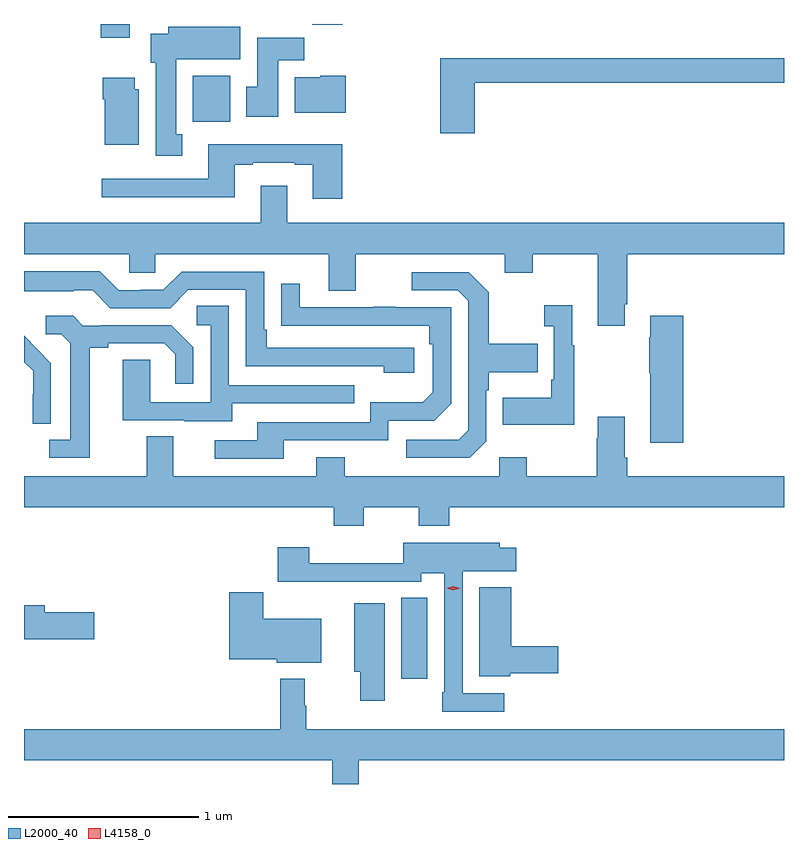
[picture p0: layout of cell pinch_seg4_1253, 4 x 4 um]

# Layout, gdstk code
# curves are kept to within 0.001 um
import gdstk
lib = gdstk.Library(unit=1e-6, precision=1e-09)
def R(c, l, rs):  # rectangles x0, y0, x1, y1
    for r in rs: c.add(gdstk.rectangle(r[:2], r[2:], *l))
def P(c, l, *ps):  # polygons
    for p in ps: c.add(gdstk.Polygon(p, *l))
L2000_40 = (2000, 40)
L4158_0 = (4158, 0)

pinch_seg4_1253 = lib.new_cell('pinch_seg4_1253')
R(pinch_seg4_1253, L2000_40, [(231.728,783.93,231.865,784.355), (230.63,786.86,230.827,787.102), (230.147,787.302,230.299,787.375), (231.259,787.372,231.416,787.375)])
P(pinch_seg4_1253, L2000_40, [(230.575,786.794),(230.542,786.794),(230.542,787.19),(230.881,787.19),(230.881,787.36),(230.501,787.36),(230.501,787.324),(230.408,787.324),(230.408,787.17),(230.435,787.17),(230.435,786.681),(230.575,786.681)],
  [(231.079,787.184),(231.218,787.184),(231.218,787.302),(230.969,787.302),(230.969,787.044),(230.912,787.044),(230.912,786.888),(231.079,786.888)],
  [(232.115,787.066),(233.742,787.066),(233.742,787.195),(231.932,787.195),(231.932,786.801),(232.115,786.801)],
  [(231.436,787.102),(231.3,787.102),(231.3,787.096),(231.167,787.096),(231.167,786.908),(231.436,786.908)],
  [(230.347,787.032),(230.326,787.032),(230.326,787.093),(230.156,787.093),(230.156,786.98),(230.168,786.98),(230.168,786.74),(230.347,786.74)],
  [(231.416,786.742),(230.711,786.742),(230.711,786.561),(230.151,786.561),(230.151,786.464),(230.851,786.464),(230.851,786.633),(230.947,786.633),(230.947,786.645),(231.167,786.645),(231.167,786.633),(231.263,786.633),(231.263,786.456),(231.416,786.456)],
  [(232.903,785.899),(232.916,785.899),(232.916,786.164),(233.742,786.164),(233.742,786.328),(231.127,786.328),(231.127,786.523),(230.987,786.523),(230.987,786.328),(229.742,786.328),(229.742,786.164),(230.295,786.164),(230.295,786.066),(230.433,786.066),(230.433,786.164),(231.347,786.164),(231.347,785.97),(231.487,785.97),(231.487,786.164),(232.271,786.164),(232.271,786.065),(232.419,786.065),(232.419,786.164),(232.763,786.164),(232.763,785.787),(232.903,785.787)],
  [(231.796,785.67),(231.019,785.67),(231.019,785.767),(231.006,785.767),(231.006,786.072),(230.571,786.072),(230.475,785.976),(230.357,785.976),(230.357,785.973),(230.241,785.973),(230.141,786.073),(229.742,786.073),(229.742,785.969),(230.003,785.969),(230.003,785.973),(230.103,785.973),(230.196,785.88),(230.511,785.88),(230.607,785.976),(230.91,785.976),(230.91,785.574),(231.635,785.574),(231.635,785.54),(231.796,785.54)],
  [(232.176,785.178),(232.176,785.447),(232.189,785.447),(232.189,785.543),(232.445,785.543),(232.445,785.691),(232.189,785.691),(232.189,785.963),(232.083,786.069),(231.783,786.069),(231.783,785.973),(232.026,785.973),(232.08,785.919),(232.08,785.238),(232.029,785.187),(231.753,785.187),(231.753,785.091),(232.089,785.091)],
  [(231.109,785.184),(231.66,785.184),(231.66,785.286),(231.9,785.286),(231.99,785.376),(231.99,785.883),(231.695,785.883),(231.695,785.888),(231.583,785.888),(231.583,785.883),(231.193,785.883),(231.193,786.007),(231.097,786.007),(231.097,785.788),(231.874,785.787),(231.874,785.69),(231.894,785.69),(231.894,785.436),(231.841,785.383),(231.564,785.383),(231.564,785.28),(230.969,785.28),(230.969,785.184),(230.745,785.184),(230.745,785.088),(231.109,785.088)],
  [(232.639,785.683),(232.627,785.683),(232.627,785.896),(232.479,785.896),(232.479,785.783),(232.53,785.783),(232.53,785.503),(232.518,785.503),(232.518,785.407),(232.261,785.407),(232.261,785.267),(232.639,785.267)],
  [(230.839,785.379),(231.479,785.379),(231.479,785.475),(230.82,785.475),(230.82,785.891),(230.652,785.891),(230.652,785.79),(230.724,785.79),(230.724,785.385),(230.406,785.385),(230.406,785.609),(230.261,785.609),(230.261,785.289),(230.585,785.289),(230.585,785.285),(230.839,785.285)],
  [(230.089,785.672),(230.185,785.672),(230.185,785.694),(230.48,785.694),(230.537,785.637),(230.537,785.481),(230.634,785.481),(230.634,785.674),(230.518,785.79),(230.146,785.79),(230.146,785.787),(230.052,785.787),(230,785.839),(229.857,785.839),(229.857,785.742),(229.938,785.742),(229.985,785.695),(229.985,785.187),(229.875,785.187),(229.875,785.091),(230.089,785.091)],
  [(233.212,785.839),(233.039,785.839),(233.039,785.726),(233.032,785.726),(233.032,785.537),(233.039,785.537),(233.039,785.172),(233.212,785.172)],
  [(229.884,785.59),(229.811,785.663),(229.812,785.664),(229.742,785.734),(229.742,785.596),(229.79,785.549),(229.79,785.426),(229.788,785.426),(229.788,785.272),(229.884,785.272)],
  [(231.531,784.832),(231.82,784.832),(231.82,784.733),(231.98,784.733),(231.98,784.832),(233.742,784.832),(233.742,784.996),(232.916,784.996),(232.916,785.092),(232.903,785.092),(232.903,785.308),(232.763,785.308),(232.763,785.195),(232.756,785.195),(232.756,784.996),(232.389,784.996),(232.389,785.095),(232.242,785.095),(232.242,784.996),(231.429,784.996),(231.429,785.095),(231.281,785.095),(231.281,784.996),(230.527,784.996),(230.527,785.204),(230.387,785.204),(230.387,784.996),(229.742,784.996),(229.742,784.832),(231.371,784.832),(231.371,784.733),(231.531,784.733)],
  [(232.27,783.852),(232.05,783.852),(232.05,784.496),(232.333,784.496),(232.333,784.618),(232.245,784.618),(232.245,784.645),(231.738,784.645),(231.738,784.538),(231.242,784.538),(231.242,784.621),(231.077,784.621),(231.077,784.439),(231.325,784.439),(231.325,784.44),(231.834,784.44),(231.834,784.484),(231.954,784.484),(231.954,783.859),(231.942,783.859),(231.942,783.756),(232.27,783.756)],
  [(232.302,783.958),(232.555,783.958),(232.555,784.1),(232.306,784.1),(232.306,784.411),(232.139,784.411),(232.139,783.941),(232.302,783.941)],
  [(231.307,784.246),(231,784.246),(231,784.384),(230.822,784.384),(230.822,784.031),(231.072,784.031),(231.072,784.013),(231.307,784.013)],
  [(231.64,784.327),(231.479,784.327),(231.479,783.965),(231.511,783.965),(231.511,783.813),(231.64,783.813)],
  [(230.113,784.28),(229.852,784.28),(229.852,784.316),(229.742,784.316),(229.742,784.138),(230.113,784.138)],
  [(231.505,783.5),(233.742,783.5),(233.742,783.664),(231.227,783.664),(231.227,783.788),(231.22,783.788),(231.22,783.928),(231.091,783.928),(231.091,783.664),(229.742,783.664),(229.742,783.5),(231.365,783.5),(231.365,783.375),(231.505,783.375)])
P(pinch_seg4_1253, L4158_0, [(232.002,784.395),(231.967,784.404),(231.967,784.404),(231.967,784.404),(232.002,784.415),(232.037,784.406),(232.037,784.406),(232.037,784.406)])

lib.write_gds('pinch_seg4_1253.gds')
